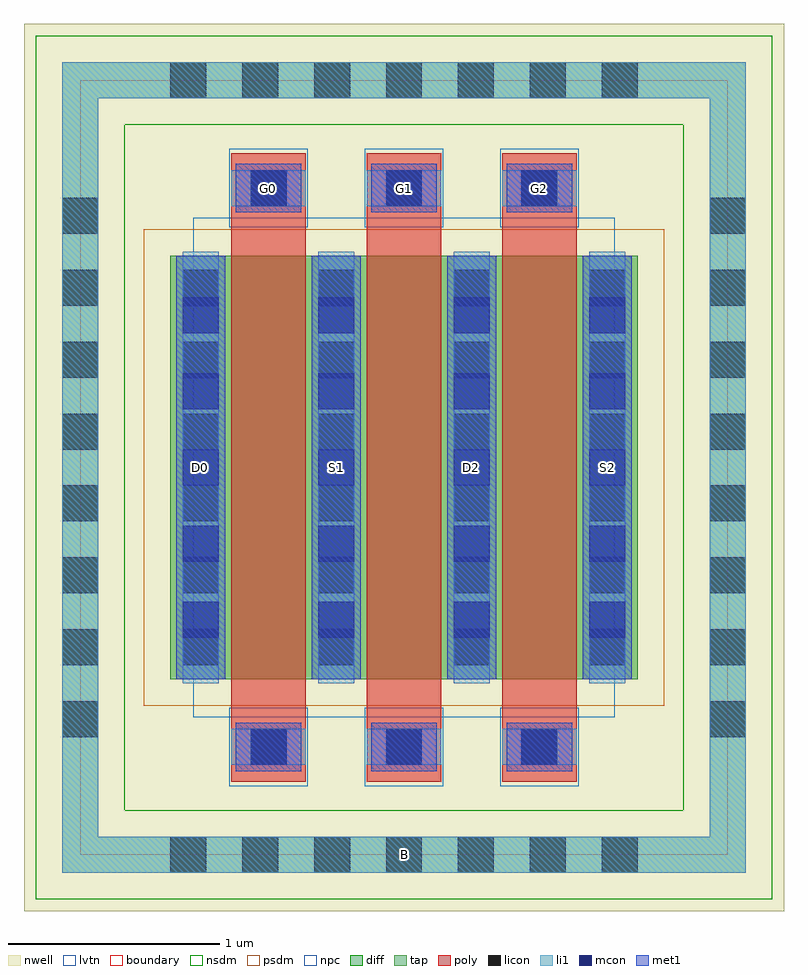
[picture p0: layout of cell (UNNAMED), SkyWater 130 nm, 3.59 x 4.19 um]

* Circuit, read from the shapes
.subckt (UNNAMED) B D0 D2 G0 G1 G2 S1 S2
XM1 S1 G0 D0 B sky130_fd_pr__pfet_01v8_lvt w=2 l=0.35
XM2 D2 G1 S1 B sky130_fd_pr__pfet_01v8_lvt w=2 l=0.35
XM3 S2 G2 D2 B sky130_fd_pr__pfet_01v8_lvt w=2 l=0.35
.ends

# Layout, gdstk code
import gdstk
lib = gdstk.Library(unit=1e-6, precision=1e-09)
def R(c, l, rs):  # rectangles x0, y0, x1, y1
    for r in rs: c.add(gdstk.rectangle(r[:2], r[2:], *l))
def A(c, l, x, y, w, h, nx, ny, dx, dy):  # array of equal rectangles
    R(c, l, [(x+i*dx, y+j*dy, x+i*dx+w, y+j*dy+h) for i in range(nx) for j in range(ny)])
nwell = (64, 20)
diff = (65, 20)
tap = (65, 44)
poly = (66, 20)
licon = (66, 44)
li1 = (67, 20)
mcon = (67, 44)
met1 = (68, 20)
nsdm = (93, 44)
psdm = (94, 20)
npc = (95, 20)
lvtn = (125, 44)
boundary = (235, 4)

c__unnamed_ = lib.new_cell('(UNNAMED)')
R(c__unnamed_, nwell, [(-1.795,-2.095,1.795,2.095)])
R(c__unnamed_, diff, [(-1.105,-1,1.105,1)])
R(c__unnamed_, tap, [(-1.615,-1.915,1.615,-1.745), (-1.615,-1.745,-1.445,1.745), (1.445,-1.745,1.615,1.745), (-1.615,1.745,1.615,1.915)])
A(c__unnamed_, poly, -0.815, -1.485, 0.35, 2.97, 3, 1, 0.64, 0)
A(c__unnamed_, licon, -1.105, -1.915, 0.17, 0.17, 7, 2, 0.34, 3.66)
A(c__unnamed_, licon, -0.725, -1.405, 0.17, 0.17, 3, 2, 0.64, 2.64)
A(c__unnamed_, licon, -1.615, -1.275, 0.17, 0.17, 1, 8, 0, 0.34)
A(c__unnamed_, licon, 1.445, -1.275, 0.17, 0.17, 1, 8, 0, 0.34)
A(c__unnamed_, licon, -1.045, -0.935, 0.17, 0.17, 4, 6, 0.64, 0.34)
A(c__unnamed_, li1, -0.815, -1.405, 0.35, 0.17, 3, 2, 0.64, 2.64)
A(c__unnamed_, li1, -1.045, -1.02, 0.17, 2.04, 4, 1, 0.64, 0)
R(c__unnamed_, li1, [(-1.615,-1.915,1.615,-1.745), (-1.615,-1.745,-1.445,1.745), (1.445,-1.745,1.615,1.745), (-1.615,1.745,1.615,1.915)])
A(c__unnamed_, mcon, -0.725, -1.405, 0.17, 0.17, 3, 2, 0.64, 2.64)
A(c__unnamed_, mcon, -1.045, -0.805, 0.17, 0.17, 4, 5, 0.64, 0.36)
A(c__unnamed_, met1, -0.795, -1.435, 0.31, 0.23, 3, 2, 0.64, 2.64)
A(c__unnamed_, met1, -1.075, -1, 0.23, 2, 4, 1, 0.64, 0)
R(c__unnamed_, nsdm, [(-1.74,-2.04,1.74,-1.62), (-1.74,-1.62,-1.32,1.62), (1.32,-1.62,1.74,1.62), (-1.74,1.62,1.74,2.04)])
R(c__unnamed_, psdm, [(-1.23,-1.125,1.23,1.125)])
A(c__unnamed_, npc, -0.825, -1.505, 0.37, 0.37, 3, 2, 0.64, 2.64)
R(c__unnamed_, lvtn, [(-0.995,-1.18,0.995,1.18)])
R(c__unnamed_, boundary, [(-1.53,-1.83,1.53,1.83)])
c__unnamed_.add(gdstk.Label('B', (0,-1.83), layer=67, texttype=5))
c__unnamed_.add(gdstk.Label('D0', (-0.96,0), layer=67, texttype=5))
c__unnamed_.add(gdstk.Label('G0', (-0.64,1.32), layer=67, texttype=5))
c__unnamed_.add(gdstk.Label('S1', (-0.32,0), layer=67, texttype=5))
c__unnamed_.add(gdstk.Label('G1', (0,1.32), layer=67, texttype=5))
c__unnamed_.add(gdstk.Label('D2', (0.32,0), layer=67, texttype=5))
c__unnamed_.add(gdstk.Label('S2', (0.96,0), layer=67, texttype=5))
c__unnamed_.add(gdstk.Label('G2', (0.64,1.32), layer=67, texttype=5))

lib.write_gds('_UNNAMED_.gds')
